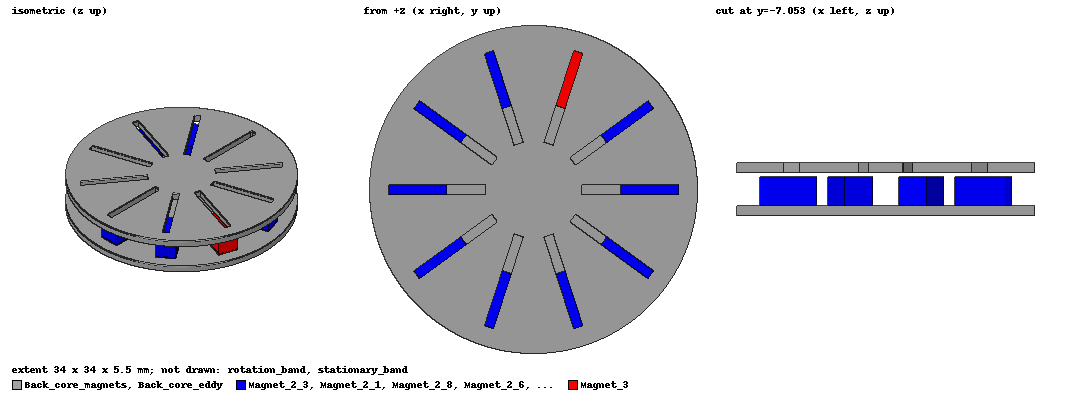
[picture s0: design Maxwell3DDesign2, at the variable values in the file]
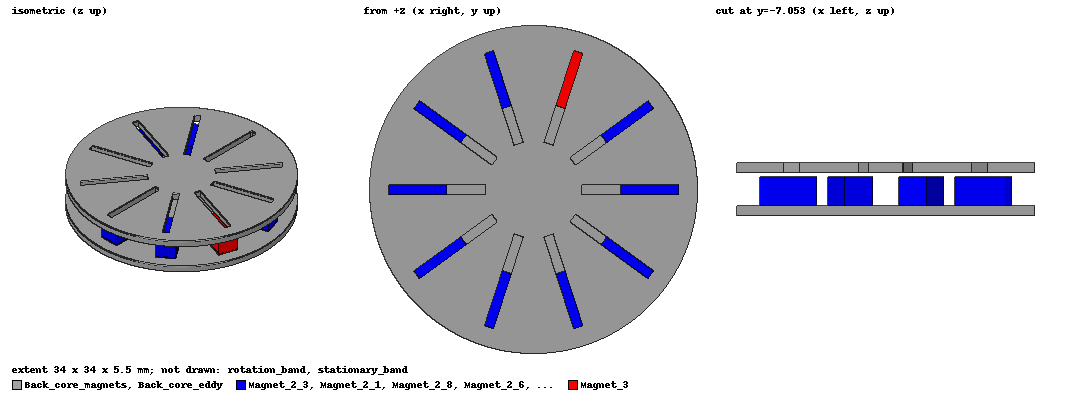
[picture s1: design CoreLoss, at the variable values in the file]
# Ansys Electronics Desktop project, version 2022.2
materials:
  vacuum: permittivity=1
  steel_1008: permeability{HUnit=A_per_meter BUnit=tesla curve (0, 0) (159.2, 0.2402) (318.3, 0.8654) (477.5, 1.1106) (636.6, 1.2458) (795.8, 1.331) (1591.5, 1.5) (3183.1, 1.6) (4774.6, 1.683) (6366.2, 1.741) (7957.7, 1.78) (15915.5, 1.905) (31831, 2.025) (47746.5, 2.085) (63662, 2.13) (79577.5, 2.165) (159155, 2.28) (318310, 2.485) (397887, 2.5851)} conductivity=2000000
  Magfine - NdFeB 42: permeability{HUnit=A_per_meter BUnit=tesla curve (-994300, 0) (-497150, 0.6575) (0, 1.315)} magnetic_coercivity{Magnitude=-994300A_per_meter DirComp1=0 DirComp2=0 DirComp3=1}
  Magfine - NdFeB 42 - Copy: permeability{HUnit=A_per_meter BUnit=tesla curve (-994300, 0) (-497150, 0.6575) (0, 1.315)} magnetic_coercivity{Magnitude=-994300A_per_meter DirComp1=0 DirComp2=0 DirComp3=-1}

design Maxwell3DDesign2 (Maxwell 3D, Transient, model units mm)
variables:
  mag_x = 6mm
  mag_y = 3mm
  mag_z = 3mm
  bc_thick = 1mm
  bc_radius = 17mm
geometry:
  Back_core_magnets [steel_1008] = cylinder(axis=Z, base_centre=(0mm, 0mm, 0mm), radius=bc_radius, height=bc_thick)
  Magnet = box(corner=(-7mm, 0mm, 0mm), size=(-mag_x, mag_y, -mag_z))
  Magnet.move(0mm, -1.5mm, 0mm)
  Magnet.move(-2mm, 0mm, 0mm)
  Magnet_1 [Magfine - NdFeB 42], Magnet_2 [Magfine - NdFeB 42 - Copy], Magnet_3 [Magfine - NdFeB 42], Magnet_4 [Magfine - NdFeB 42 - Copy], Magnet_5 [Magfine - NdFeB 42], Magnet_6 [Magfine - NdFeB 42 - Copy], Magnet_7 [Magfine - NdFeB 42], Magnet_8 [Magfine - NdFeB 42 - Copy], Magnet_9 [Magfine - NdFeB 42] = Magnet.duplicate_around_axis(axis=Z, angle=36deg, total=10)
  [Back_core_magnets, Magnet].rotate(axis=X, angle=180deg)
  Magnet.delete()
  [Magnet_1..Magnet_9].rotate(axis=X, angle=180deg)
  Back_core_eddy [steel_1008] = cylinder(axis=Z, base_centre=(0mm, 0mm, 0mm), radius=bc_radius, height=bc_thick)
  Back_core_eddy.move(0mm, 0mm, 3.5mm)
  Box1 = box(corner=(15mm, -0.5mm, 4.5mm), size=(-10mm, 1mm, -1mm))
  Box1_1..Box1_9 = Box1.duplicate_around_axis(axis=Z, angle=36deg, total=10)
  Back_core_eddy.subtract(Box1, Box1_1..Box1_4, Box1_6..Box1_9)
  Magnet_2_1 [Magfine - NdFeB 42], Magnet_2_2 [Magfine - NdFeB 42 - Copy], Magnet_2_3 [Magfine - NdFeB 42], Magnet_2_4 [Magfine - NdFeB 42 - Copy], Magnet_2_5 [Magfine - NdFeB 42], Magnet_2_6 [Magfine - NdFeB 42 - Copy], Magnet_2_7 [Magfine - NdFeB 42], Magnet_2_8 [Magfine - NdFeB 42 - Copy], Magnet_2_9 [Magfine - NdFeB 42] = Magnet_2.duplicate_around_axis(axis=Z, angle=36deg, total=10)
  Back_core_eddy.subtract(Box1_5)
  stationary_band [vacuum] = region(percentage_offset: +X=100, -X=100, +Y=100, -Y=100, +Z=300, -Z=300)
  rotation_band [vacuum] = cylinder(axis=Z, base_centre=(0mm, 0mm, -2mm), radius=20mm, height=5.25mm)
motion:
  MotionSetup1: Band Move_Type=Rotate Coordinate_System=Global Axis=Z Is_Positive=true InitPos=0deg Angular_Velocity="(360/20) deg_per_sec" Objects=rotation_band
  Moving1: Moving Objects=[Back_core_magnets, Magnet_1..Magnet_9, Magnet_2_1..Magnet_2_9]
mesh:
  slotted_core: LengthBased Objects=Back_core_eddy MaxLength=2mm
  magnets: LengthBased Objects=[Magnet_1..Magnet_9, Magnet_2_1..Magnet_2_9] MaxLength=1mm
  rotationary_band: LengthBased Objects=rotation_band MaxLength=8mm
  stationary_band: LengthBased Objects=stationary_band MaxLength=24mm
  CylindricalGap1: CylindricalGap BandMappingAngle=3deg MovingSideLayers=1 StaticSideLayers=1 Objects=rotation_band
  initial mesh: GlobalCurvilinear{Apply}
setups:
  Setup1: Transient NonlinearSolverResidual=0.005 ScalarPotential="Second Order" StopTime=20s TimeStep=1s SaveFieldsType="Every N Steps" N_Steps=1 Steps_From=0s Steps_To=20s NumberSolveSteps=1 RangeStart=0s RangeEnd=0.1s
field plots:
  B_Vector1: B in Back_core_magnets, Magnet_1..Magnet_9, Back_core_eddy, Magnet_2_1..Magnet_2_9 on Setup1 : Transient at Time=2s

design CoreLoss (Maxwell 3D, Transient, model units mm)
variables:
  mag_x = 6mm
  mag_y = 3mm
  mag_z = 3mm
  bc_thick = 1mm
  bc_radius = 17mm
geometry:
  Back_core_magnets [steel_1008] = cylinder(axis=Z, base_centre=(0mm, 0mm, 0mm), radius=bc_radius, height=bc_thick)
  Magnet = box(corner=(-7mm, 0mm, 0mm), size=(-mag_x, mag_y, -mag_z))
  Magnet.move(0mm, -1.5mm, 0mm)
  Magnet.move(-2mm, 0mm, 0mm)
  Magnet_1 [Magfine - NdFeB 42], Magnet_2 [Magfine - NdFeB 42 - Copy], Magnet_3 [Magfine - NdFeB 42], Magnet_4 [Magfine - NdFeB 42 - Copy], Magnet_5 [Magfine - NdFeB 42], Magnet_6 [Magfine - NdFeB 42 - Copy], Magnet_7 [Magfine - NdFeB 42], Magnet_8 [Magfine - NdFeB 42 - Copy], Magnet_9 [Magfine - NdFeB 42] = Magnet.duplicate_around_axis(axis=Z, angle=36deg, total=10)
  [Back_core_magnets, Magnet].rotate(axis=X, angle=180deg)
  Magnet.delete()
  [Magnet_1..Magnet_9].rotate(axis=X, angle=180deg)
  Back_core_eddy [steel_1008] = cylinder(axis=Z, base_centre=(0mm, 0mm, 0mm), radius=bc_radius, height=bc_thick)
  Back_core_eddy.move(0mm, 0mm, 3.5mm)
  Box1 = box(corner=(15mm, -0.5mm, 4.5mm), size=(-10mm, 1mm, -1mm))
  Box1_1..Box1_9 = Box1.duplicate_around_axis(axis=Z, angle=36deg, total=10)
  Back_core_eddy.subtract(Box1, Box1_1..Box1_4, Box1_6..Box1_9)
  Magnet_2_1 [Magfine - NdFeB 42], Magnet_2_2 [Magfine - NdFeB 42 - Copy], Magnet_2_3 [Magfine - NdFeB 42], Magnet_2_4 [Magfine - NdFeB 42 - Copy], Magnet_2_5 [Magfine - NdFeB 42], Magnet_2_6 [Magfine - NdFeB 42 - Copy], Magnet_2_7 [Magfine - NdFeB 42], Magnet_2_8 [Magfine - NdFeB 42 - Copy], Magnet_2_9 [Magfine - NdFeB 42] = Magnet_2.duplicate_around_axis(axis=Z, angle=36deg, total=10)
  Back_core_eddy.subtract(Box1_5)
  stationary_band [vacuum] = region(percentage_offset: +X=100, -X=100, +Y=100, -Y=100, +Z=300, -Z=300)
  rotation_band [vacuum] = cylinder(axis=Z, base_centre=(0mm, 0mm, -2mm), radius=20mm, height=5.25mm)
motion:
  MotionSetup1: Band Move_Type=Rotate Coordinate_System=Global Axis=Z Is_Positive=true InitPos=0deg Angular_Velocity="(360/20) deg_per_sec" Objects=rotation_band
  Moving1: Moving Objects=[Back_core_magnets, Magnet_1..Magnet_9, Magnet_2_1..Magnet_2_9]
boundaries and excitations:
  core loss on: Back_core_eddy
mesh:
  slotted_core: LengthBased Objects=Back_core_eddy MaxLength=2mm
  magnets: LengthBased Objects=[Magnet_1..Magnet_9, Magnet_2_1..Magnet_2_9] MaxLength=1mm
  rotationary_band: LengthBased Objects=rotation_band MaxLength=8mm
  stationary_band: LengthBased Objects=stationary_band MaxLength=24mm
  CylindricalGap1: CylindricalGap BandMappingAngle=3deg MovingSideLayers=1 StaticSideLayers=1 Objects=rotation_band
  initial mesh: GlobalCurvilinear{Apply}
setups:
  Setup1: Transient NonlinearSolverResidual=1e-06 ScalarPotential="Second Order" StopTime=6s TimeStep=10ms SaveFieldsType="Every N Steps" N_Steps=1 Steps_From=0s Steps_To=20s NumberSolveSteps=1 RangeStart=0s RangeEnd=0.1s
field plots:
  B_Vector1: B in Back_core_magnets, Magnet_1..Magnet_9, Back_core_eddy, Magnet_2_1..Magnet_2_9 on Setup1 : Transient at Time=-1
